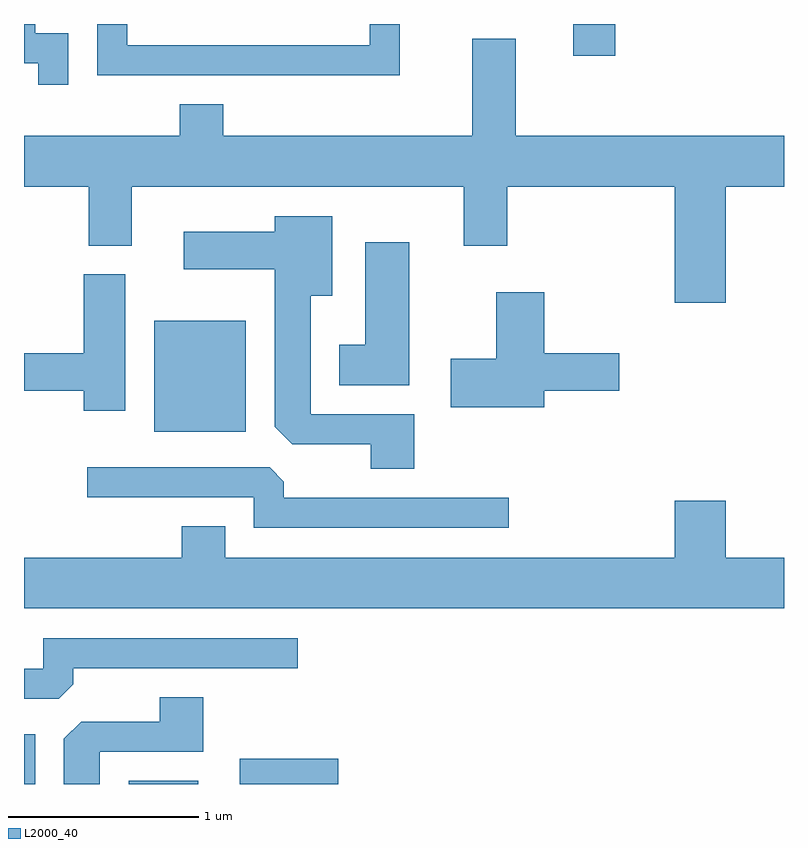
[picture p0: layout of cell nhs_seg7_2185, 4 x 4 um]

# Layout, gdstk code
import gdstk
lib = gdstk.Library(unit=1e-6, precision=1e-09)
def R(c, l, rs):  # rectangles x0, y0, x1, y1
    for r in rs: c.add(gdstk.rectangle(r[:2], r[2:], *l))
def P(c, l, *ps):  # polygons
    for p in ps: c.add(gdstk.Polygon(p, *l))
L2000_40 = (2000, 40)

nhs_seg7_2185 = lib.new_cell('nhs_seg7_2185')
R(nhs_seg7_2185, L2000_40, [(251.611,1742.252,251.669,1742.514), (252.161,1742.252,252.529,1742.269), (252.746,1742.252,253.264,1742.384), (252.296,1744.106,252.779,1744.689), (254.501,1746.086,254.724,1746.252)])
P(nhs_seg7_2185, L2000_40, [(251.844,1746.204),(251.669,1746.204),(251.669,1746.252),(251.611,1746.252),(251.611,1746.046),(251.686,1746.046),(251.686,1745.933),(251.844,1745.933)],
  [(253.589,1746.252),(253.431,1746.252),(253.431,1746.139),(252.154,1746.139),(252.154,1746.252),(251.996,1746.252),(251.996,1745.981),(253.589,1745.981)],
  [(255.304,1745.396),(255.611,1745.396),(255.611,1745.664),(254.199,1745.664),(254.199,1746.174),(253.971,1746.174),(253.971,1745.664),(252.659,1745.664),(252.659,1745.829),(252.431,1745.829),(252.431,1745.664),(251.611,1745.664),(251.611,1745.396),(251.951,1745.396),(251.951,1745.086),(252.179,1745.086),(252.179,1745.396),(253.926,1745.396),(253.926,1745.086),(254.154,1745.086),(254.154,1745.396),(255.036,1745.396),(255.036,1744.786),(255.304,1744.786)],
  [(253.664,1744.199),(253.119,1744.199),(253.119,1744.821),(253.234,1744.821),(253.234,1745.239),(252.931,1745.239),(252.931,1745.159),(252.451,1745.159),(252.451,1744.961),(252.931,1744.961),(252.931,1744.132),(253.022,1744.041),(253.436,1744.041),(253.436,1743.911),(253.664,1743.911)],
  [(253.639,1745.104),(253.406,1745.104),(253.406,1744.564),(253.271,1744.564),(253.271,1744.351),(253.639,1744.351)],
  [(252.144,1744.934),(251.926,1744.934),(251.926,1744.519),(251.611,1744.519),(251.611,1744.321),(251.926,1744.321),(251.926,1744.216),(252.144,1744.216)],
  [(254.349,1744.321),(254.744,1744.321),(254.744,1744.519),(254.349,1744.519),(254.349,1744.839),(254.096,1744.839),(254.096,1744.489),(253.856,1744.489),(253.856,1744.236),(254.349,1744.236)],
  [(254.163,1743.759),(252.979,1743.759),(252.979,1743.844),(252.904,1743.919),(251.943,1743.919),(251.943,1743.761),(252.821,1743.761),(252.821,1743.601),(254.163,1743.601)],
  [(255.611,1743.444),(255.304,1743.444),(255.304,1743.744),(255.036,1743.744),(255.036,1743.444),(252.669,1743.444),(252.669,1743.609),(252.441,1743.609),(252.441,1743.444),(251.611,1743.444),(251.611,1743.176),(255.611,1743.176)],
  [(251.869,1742.777),(251.869,1742.861),(253.053,1742.861),(253.053,1743.019),(251.711,1743.019),(251.711,1742.859),(251.611,1742.859),(251.611,1742.701),(251.794,1742.701)],
  [(252.009,1742.421),(252.554,1742.421),(252.554,1742.709),(252.326,1742.709),(252.326,1742.579),(251.912,1742.579),(251.821,1742.489),(251.821,1742.252),(252.009,1742.252)])

lib.write_gds('nhs_seg7_2185.gds')
